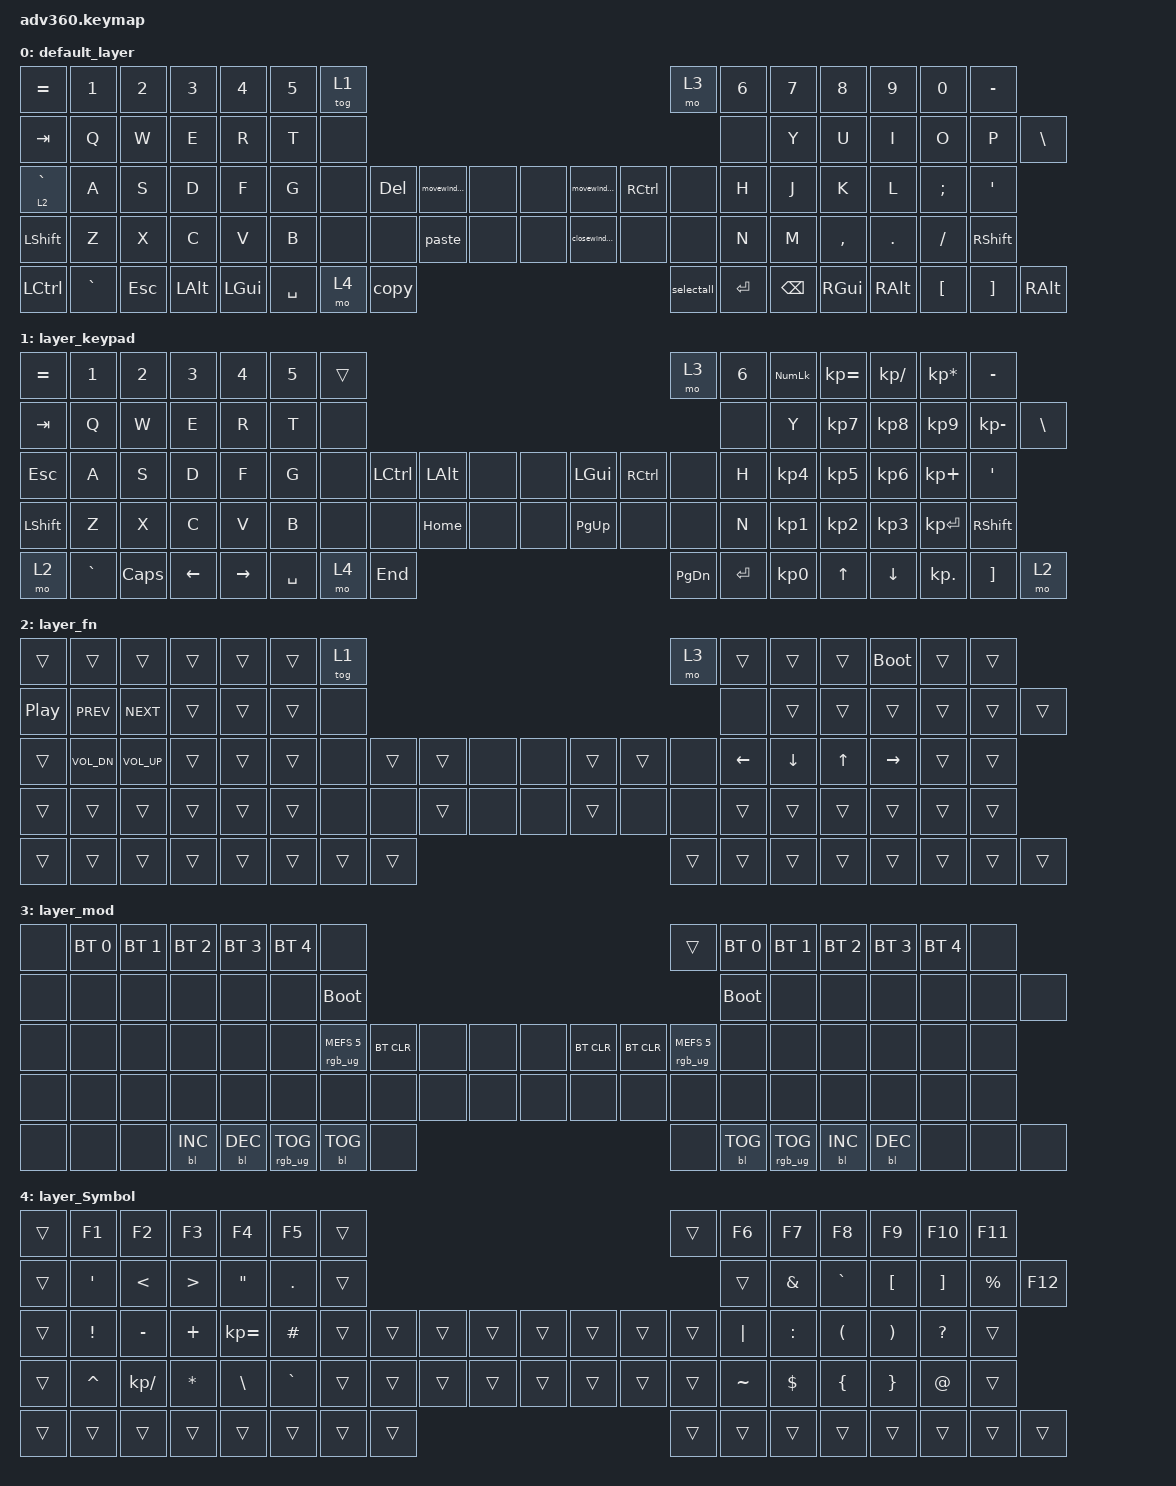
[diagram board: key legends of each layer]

/*
 * Copyright (c) 2020 The ZMK Contributors
 *
 * SPDX-License-Identifier: MIT
 */


/* THIS FILE WAS GENERATED!
 *
 * This file was generated automatically. You may or may not want to
 * edit it directly.
 */

#include <behaviors.dtsi>
#include <dt-bindings/zmk/keys.h>
#include <dt-bindings/zmk/bt.h>
#include <dt-bindings/zmk/rgb.h>
#include <dt-bindings/zmk/backlight.h>

/ {
  behaviors {
    #include "macros.dtsi"

    hm: homerow_mods {
        compatible = "zmk,behavior-hold-tap";
        label = "HOMEROW_MODS";
        #binding-cells = <2>;
        tapping-term-ms = <200>;
        quick_tap_ms = <175>;
        flavor = "tap-preferred";
        bindings = <&kp>, <&kp>;
    };
  };

  macros {
      copy: copy {
          compatible = "zmk,behavior-macro";
          label = "COPY";
          #binding-cells = <0>;
          bindings
            = <&macro_press &kp LGUI>
            , <&macro_tap &kp C>
            , <&macro_release &kp LGUI>;
      };
      paste: paste {
          compatible = "zmk,behavior-macro";
          label = "PASTE";
          #binding-cells = <0>;
          bindings
            = <&macro_press &kp LGUI>
            , <&macro_tap &kp V>
            , <&macro_release &kp LGUI>;
      };
      selectall: selectall {
          compatible = "zmk,behavior-macro";
          label = "SELECTALL";
          #binding-cells = <0>;
          bindings
            = <&macro_press &kp LGUI>
            , <&macro_tap &kp A>
            , <&macro_release &kp LGUI>;
      };
      closewindow: closewindow {
          compatible = "zmk,behavior-macro";
          label = "CLOSEWINDOW";
          #binding-cells = <0>;
          bindings
            = <&macro_press &kp LALT>
            , <&macro_tap &kp F4>
            , <&macro_release &kp LALT>;
      };
      movewindowright: movewindowright {
          compatible = "zmk,behavior-macro";
          label = "MOVEWINDOWRIGHT";
          #binding-cells = <0>;
          bindings
            = <&macro_press &kp LGUI &kp LSHFT>
            , <&macro_tap &kp RIGHT_ARROW>
            , <&macro_release &kp LGUI &kp LSHFT>;
      };
      movewindowleft: movewindowleft {
          compatible = "zmk,behavior-macro";
          label = "MOVEWINDOWLEFT";
          #binding-cells = <0>;
          bindings
            = <&macro_press &kp LGUI &kp LSHFT>
            , <&macro_tap &kp LEFT_ARROW>
            , <&macro_release &kp LGUI &kp LSHFT>;
      };
  };

    keymap {
        compatible = "zmk,keymap";


        default_layer {
            bindings = <
   &kp EQUAL     &kp N1   &kp N2        &kp N3    &kp N4  &kp N5               &tog 1                                                                            &mo 3  &kp N6         &kp N7         &kp N8            &kp N9             &kp N0      &kp MINUS
     &kp TAB      &kp Q    &kp W         &kp E     &kp R   &kp T                &none                                                                            &none   &kp Y          &kp U          &kp I             &kp O              &kp P       &kp BSLH
 &lt 2 GRAVE      &kp A    &kp S         &kp D     &kp F   &kp G                &none  &kp DELETE  &movewindowleft   &none   &none     &movewindowright  &kp RCTRL          &none   &kp H          &kp J          &kp K             &kp L           &kp SEMI        &kp SQT
   &kp LSHFT      &kp Z    &kp X         &kp C     &kp V   &kp B                &none       &none      &paste   &none   &none  &closewindow      &none          &none   &kp N          &kp M      &kp COMMA           &kp DOT           &kp FSLH      &kp RSHFT
   &kp LCTRL  &kp GRAVE  &kp ESC  &kp LEFT_ALT  &kp LGUI                    &kp SPACE       &mo 4       &copy                    &selectall  &kp ENTER  &kp BACKSPACE          &kp RIGHT_GUI  &kp RIGHT_ALT  &kp LEFT_BRACKET  &kp RIGHT_BRACKET  &kp RIGHT_ALT
            >;
        };

        layer_keypad {
            bindings = <
 &kp EQUAL     &kp N1    &kp N2    &kp N3     &kp N4  &kp N5               &trans                                                                 &mo 3  &kp N6  &kp KP_NUM  &kp KP_EQUAL  &kp KP_DIVIDE  &kp KP_MULTIPLY  &kp MINUS
   &kp TAB      &kp Q     &kp W     &kp E      &kp R   &kp T                &none                                                                 &none   &kp Y   &kp KP_N7     &kp KP_N8      &kp KP_N9     &kp KP_MINUS   &kp BSLH
   &kp ESC      &kp A     &kp S     &kp D      &kp F   &kp G                &none  &kp LCTRL  &kp LALT   &none   &none   &kp LGUI  &kp RCTRL      &none   &kp H   &kp KP_N4     &kp KP_N5      &kp KP_N6      &kp KP_PLUS    &kp SQT
 &kp LSHFT      &kp Z     &kp X     &kp C      &kp V   &kp B                &none      &none  &kp HOME   &none   &none  &kp PG_UP      &none      &none   &kp N   &kp KP_N1     &kp KP_N2      &kp KP_N3     &kp KP_ENTER  &kp RSHFT
     &mo 2  &kp GRAVE  &kp CAPS  &kp LEFT  &kp RIGHT                    &kp SPACE      &mo 4   &kp END                  &kp PG_DN  &kp ENTER  &kp KP_N0              &kp UP      &kp DOWN     &kp KP_DOT         &kp RBKT      &mo 2
            >;
        };

        layer_fn {
            bindings = <
   &trans        &trans        &trans  &trans  &trans  &trans            &tog 1                                                   &mo 3    &trans          &trans        &trans      &bootloader  &trans  &trans
 &kp C_PP    &kp C_PREV    &kp C_NEXT  &trans  &trans  &trans             &none                                                   &none    &trans          &trans        &trans           &trans  &trans  &trans
   &trans  &kp C_VOL_DN  &kp C_VOL_UP  &trans  &trans  &trans             &none  &trans  &trans   &none   &none  &trans  &trans   &none  &kp LEFT  &kp DOWN_ARROW  &kp UP_ARROW  &kp RIGHT_ARROW  &trans  &trans
   &trans        &trans        &trans  &trans  &trans  &trans             &none   &none  &trans   &none   &none  &trans   &none   &none    &trans          &trans        &trans           &trans  &trans  &trans
   &trans        &trans        &trans  &trans  &trans                    &trans  &trans  &trans                  &trans  &trans  &trans                    &trans        &trans           &trans  &trans  &trans
            >;
        };

        layer_mod {
            bindings = <
  &none  &bt BT_SEL 0  &bt BT_SEL 1  &bt BT_SEL 2  &bt BT_SEL 3  &bt BT_SEL 4                             &none                                                                              &trans  &bt BT_SEL 0  &bt BT_SEL 1  &bt BT_SEL 2  &bt BT_SEL 3  &bt BT_SEL 4   &none
  &none         &none         &none         &none         &none         &none                       &bootloader                                                                         &bootloader         &none         &none         &none         &none         &none   &none
  &none         &none         &none         &none         &none         &none            &rgb_ug RGB_MEFS_CMD 5  &bt BT_CLR   &none   &none   &none  &bt BT_CLR  &bt BT_CLR  &rgb_ug RGB_MEFS_CMD 5         &none         &none         &none         &none         &none   &none
  &none         &none         &none         &none         &none         &none                             &none       &none   &none   &none   &none       &none       &none                   &none         &none         &none         &none         &none         &none   &none
  &none         &none         &none    &bl BL_INC    &bl BL_DEC                                 &rgb_ug RGB_TOG  &bl BL_TOG   &none                       &none  &bl BL_TOG         &rgb_ug RGB_TOG                  &bl BL_INC    &bl BL_DEC         &none         &none   &none
            >;
        };

        layer_Symbol {
            bindings = <
 &trans            &kp F1        &kp F2     &kp F3             &kp F4      &kp F5            &trans                                                  &trans     &kp F6      &kp F7                &kp F8                 &kp F9       &kp F10  &kp F11
 &trans  &kp SINGLE_QUOTE        &kp LT     &kp GT  &kp DOUBLE_QUOTES  &kp PERIOD            &trans                                                  &trans   &kp AMPS   &kp GRAVE      &kp LEFT_BRACKET      &kp RIGHT_BRACKET   &kp PERCENT  &kp F12
 &trans   &kp EXCLAMATION     &kp MINUS   &kp PLUS       &kp KP_EQUAL    &kp HASH            &trans  &trans  &trans  &trans  &trans  &trans  &trans  &trans   &kp PIPE   &kp COLON  &kp LEFT_PARENTHESIS  &kp RIGHT_PARENTHESIS  &kp QUESTION   &trans
 &trans         &kp CARET  &kp KP_SLASH  &kp ASTRK      &kp BACKSLASH   &kp GRAVE            &trans  &trans  &trans  &trans  &trans  &trans  &trans  &trans  &kp TILDE  &kp DOLLAR        &kp LEFT_BRACE        &kp RIGHT_BRACE        &kp AT   &trans
 &trans            &trans        &trans     &trans             &trans                        &trans  &trans  &trans                  &trans  &trans  &trans                 &trans                &trans                 &trans        &trans   &trans
            >;
        };

    };
};
